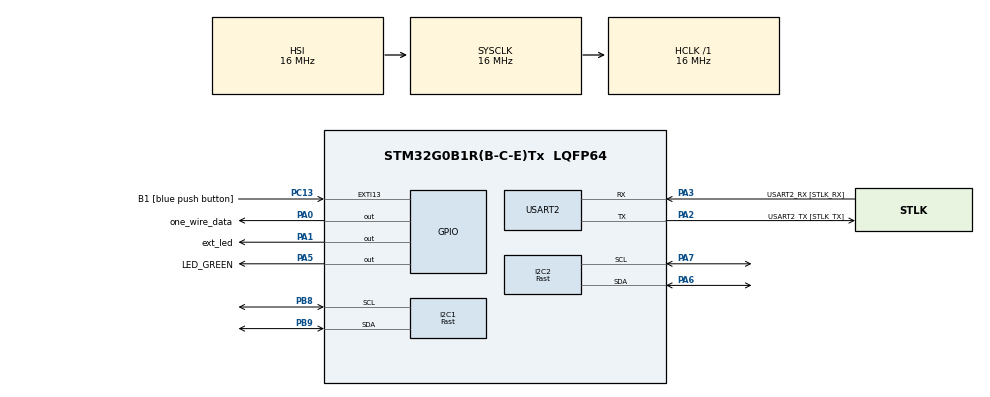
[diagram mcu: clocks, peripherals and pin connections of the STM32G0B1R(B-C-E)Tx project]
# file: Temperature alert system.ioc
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I2C1.I2C_Speed_Mode=I2C_Fast
I2C1.Timing=0x00300617
I2C2.I2C_Speed_Mode=I2C_Fast
I2C2.Timing=0x00300617
Mcu.Family=STM32G0
Mcu.Name=STM32G0B1R(B-C-E)Tx
Mcu.Package=LQFP64
NVIC.EXTI4_15_IRQn=true\:0\:0\:false\:false\:true\:true\:true\:true
PA0.GPIO_Label=one_wire_data
PA0.GPIO_ModeDefaultOutputPP=GPIO_MODE_OUTPUT_OD
PA0.GPIO_PuPd=GPIO_NOPULL
PA0.Signal=GPIO_Output
PA1.GPIO_Label=ext_led
PA1.GPIO_PuPd=GPIO_PULLUP
PA1.Signal=GPIO_Output
PA13.GPIO_Label=TMS
PA13.Mode=Serial_Wire
PA13.Signal=SYS_SWDIO
PA14-BOOT0.GPIO_Label=TCK
PA14-BOOT0.Mode=Serial_Wire
PA14-BOOT0.Signal=SYS_SWCLK
PA2.GPIO_Label=USART2_TX [STLK_TX]
PA2.Mode=Asynchronous
PA2.Signal=USART2_TX
PA3.GPIO_Label=USART2_RX [STLK_RX]
PA3.Mode=Asynchronous
PA3.Signal=USART2_RX
PA5.GPIO_Label=LED_GREEN
PA5.GPIO_Speed=GPIO_SPEED_FREQ_HIGH
PA5.Signal=GPIO_Output
PA6.Mode=I2C
PA6.Signal=I2C2_SDA
PA7.Mode=I2C
PA7.Signal=I2C2_SCL
PB8.Mode=I2C
PB8.Signal=I2C1_SCL
PB9.Mode=I2C
PB9.Signal=I2C1_SDA
PC13.GPIO_Label=B1 [blue push button]
PC13.GPIO_ModeDefaultEXTI=GPIO_MODE_IT_FALLING
PC13.GPIO_PuPd=GPIO_PULLUP
PC13.Signal=GPXTI13
PC14-OSC32_IN\ (PC14).Mode=LSE-External-Oscillator
PC14-OSC32_IN\ (PC14).Signal=RCC_OSC32_IN
PC15-OSC32_OUT\ (PC15).Mode=LSE-External-Oscillator
PC15-OSC32_OUT\ (PC15).Signal=RCC_OSC32_OUT
PF0-OSC_IN\ (PF0).GPIO_Label=MCO
PF0-OSC_IN\ (PF0).Mode=HSE-External-Clock-Source
PF0-OSC_IN\ (PF0).Signal=RCC_OSC_IN
ProjectManager.HeapSize=0x200
ProjectManager.StackSize=0x400
ProjectManager.TargetToolchain=STM32CubeIDE
RCC.AHBFreq_Value=16000000
RCC.CortexFreq_Value=16000000
RCC.EXTERNAL_CLOCK_VALUE=12288000
RCC.HCLKFreq_Value=16000000
RCC.HSE_VALUE=8000000
RCC.HSI48_VALUE=48000000
RCC.HSI_VALUE=16000000
RCC.SYSCLKFreq_VALUE=16000000
RCC.USBFreq_Value=48000000
RCC.VCOOutputFreq_Value=128000000
TIM2.AutoReloadPreload=TIM_AUTORELOAD_PRELOAD_ENABLE
TIM2.Period=65535
TIM2.Prescaler=15
USART2.VirtualMode-Asynchronous=VM_ASYNC
VP_SYS_VS_DBSignals.Mode=DisableDeadBatterySignals
VP_TIM2_VS_ClockSourceINT.Mode=Internal
board=NUCLEO-G0B1RE

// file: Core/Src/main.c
/* USER CODE BEGIN Header */
/**
 * @file    main.c
 * @brief   Temperature sensor alarm application for STM32G0.
 *
 * Reads temperature from a DS18B20 1-Wire sensor and displays the current
 * reading and alarm threshold on two TM1650 7-segment displays over I2C.
 * An external LED is activated when the temperature exceeds the threshold.
 * The onboard B1 button acknowledges and clears the alarm.
 *
 * @copyright Copyright (c) 2026 STMicroelectronics. All rights reserved.
 *            Licensed under terms found in the LICENSE file in the root directory.
 */
/* USER CODE END Header */

#include "main.h"

/* USER CODE BEGIN Includes */
#include "ds18b20.h"
#include "seven_seg.h"
#include <math.h>
/* USER CODE END Includes */

/* USER CODE BEGIN PTD */

/**
 * @brief Alarm state.
 */
typedef enum
{
    ALARM_STATE_OFF,  /**< Alarm inactive — temperature below threshold */
    ALARM_STATE_ON    /**< Alarm active   — temperature exceeded threshold */
} AlarmState_t;

/* USER CODE END PTD */

/* USER CODE BEGIN PD */

#define THRESHOLD_TEMP          30.0f   /**< Default alarm threshold in degrees Celsius */
#define TEMP_SAMPLE_PERIOD_MS   1000    /**< Total loop period in ms (conversion + idle) */

/* USER CODE END PD */

I2C_HandleTypeDef hi2c1;
I2C_HandleTypeDef hi2c2;

TIM_HandleTypeDef htim2;

UART_HandleTypeDef huart2;

/* USER CODE BEGIN PV */

SevenSeg_Handle_t display_current;    /**< Display handle for current temperature (I2C1) */
SevenSeg_Handle_t display_threshold;  /**< Display handle for alarm threshold     (I2C2) */

float temp_current  = 0.0f;            /**< Most recent valid temperature reading in °C  */
float temp_threshold = THRESHOLD_TEMP; /**< Active alarm threshold in °C                 */
AlarmState_t alarm_state = ALARM_STATE_OFF; /**< Current alarm state                     */

volatile bool button_pressed = false;  /**< Set by EXTI ISR; cleared in main loop        */

/* USER CODE END PV */

void SystemClock_Config(void);
static void MX_GPIO_Init(void);
static void MX_USART2_UART_Init(void);
static void MX_I2C1_Init(void);
static void MX_I2C2_Init(void);
static void MX_TIM2_Init(void);
/* USER CODE BEGIN PFP */

static void LED_SetState(bool on);
static void DisplayTemperature(SevenSeg_Handle_t *display, float temp);

/* USER CODE END PFP */

/* USER CODE BEGIN 0 */

/**
 * @brief  Drive the external alarm LED on or off.
 * @param  on  true to illuminate the LED, false to extinguish it.
 */
static void LED_SetState(bool on)
{
    if (on)
    {
        HAL_GPIO_WritePin(ext_led_GPIO_Port, ext_led_Pin, GPIO_PIN_SET);
    }
    else
    {
        HAL_GPIO_WritePin(ext_led_GPIO_Port, ext_led_Pin, GPIO_PIN_RESET);
    }
}

/**
 * @brief  Format a float temperature value and write it to a 7-segment display.
 *
 * Multiplies @p temp by 10, rounds to the nearest integer, and calls
 * SevenSeg_DisplayDecimal() to show one decimal place (e.g. 25.3 °C → "25.3").
 *
 * @param  display  Pointer to an initialised SevenSeg_Handle_t.
 * @param  temp     Temperature in degrees Celsius.
 */
static void DisplayTemperature(SevenSeg_Handle_t *display, float temp)
{
    uint16_t value = (uint16_t)roundf(temp * 10.0f);
    SevenSeg_DisplayDecimal(display, value);
}

/* USER CODE END 0 */

/**
 * @brief  Application entry point.
 * @retval int  Never returns.
 */
int main(void)
{

  /* MCU Configuration--------------------------------------------------------*/

  /* Reset of all peripherals, Initializes the Flash interface and the Systick. */
  HAL_Init();

  /* Configure the system clock */
  SystemClock_Config();

  /* Initialize all configured peripherals */
  MX_GPIO_Init();
  MX_USART2_UART_Init();
  MX_I2C1_Init();
  MX_I2C2_Init();
  MX_TIM2_Init();
  /* USER CODE BEGIN 2 */

  /* Start TIM2 as a free-running microsecond counter for the DS18B20 1-Wire driver */
  HAL_TIM_Base_Start(&htim2);

  /* Initialise DS18B20 — halt on failure (sensor required for operation) */
  if (!DS18B20_Init())
  {
      Error_Handler();
  }

  /* Initialise current temperature display on I2C1 */
  if (SevenSeg_Init(&display_current, &hi2c1) != SEVEN_SEG_OK)
  {
      Error_Handler();
  }

  /* Initialise threshold display on I2C2 */
  if (SevenSeg_Init(&display_threshold, &hi2c2) != SEVEN_SEG_OK)
  {
      Error_Handler();
  }

  /* Show the default threshold on startup */
  DisplayTemperature(&display_threshold, temp_threshold);

  /* USER CODE END 2 */

  /* Infinite loop */
  /* USER CODE BEGIN WHILE */
  while (1)
  {
      /* ----------------------------------------------------------------
       * Button handling — acknowledge alarm on B1 press
       * button_pressed is set by the EXTI ISR (HAL_GPIO_EXTI_Falling_Callback)
       * ---------------------------------------------------------------- */
      if (button_pressed)
      {
          button_pressed = false;  /* Clear ISR flag */

          /* Debounce delay */
          HAL_Delay(50);

          /* Confirm button is still held (active low) */
          if (HAL_GPIO_ReadPin(B1_GPIO_Port, B1_Pin) == GPIO_PIN_RESET)
          {
              /* Acknowledge alarm — turn off LED and return to idle state */
              if (alarm_state == ALARM_STATE_ON)
              {
                  alarm_state = ALARM_STATE_OFF;
                  LED_SetState(false);
              }
          }
      }

      /* ----------------------------------------------------------------
       * Temperature measurement
       * ---------------------------------------------------------------- */

      /* Trigger conversion and wait for 12-bit result (max 750 ms) */
      DS18B20_StartConversion();
      HAL_Delay(750);

      float temp_new = DS18B20_ReadTemperature();

      /* Accept only readings within the DS18B20 valid range (-55 to +125 °C) */
      if (temp_new > -100.0f && temp_new < 125.0f)
      {
          temp_current = temp_new;

          /* Refresh the current temperature display */
          DisplayTemperature(&display_current, temp_current);

          /* Trigger alarm if threshold is exceeded and alarm is not already active */
          if (alarm_state == ALARM_STATE_OFF)
          {
              if (temp_current > temp_threshold)
              {
                  alarm_state = ALARM_STATE_ON;
                  LED_SetState(true);
              }
          }
      }

      /* Idle for the remainder of the sample period */
      HAL_Delay(TEMP_SAMPLE_PERIOD_MS - 750);

    /* USER CODE END WHILE */

  }
}

/**
 * @brief  Configure system clocks.
 *
 * Source: HSI @ 16 MHz, no PLL. SYSCLK / HCLK / PCLK1 all at 16 MHz,
 * flash latency 0.
 *
 * @retval None
 */
void SystemClock_Config(void)
{
  RCC_OscInitTypeDef RCC_OscInitStruct = {0};
  RCC_ClkInitTypeDef RCC_ClkInitStruct = {0};

  /** Configure the main internal regulator output voltage
  */
  HAL_PWREx_ControlVoltageScaling(PWR_REGULATOR_VOLTAGE_SCALE1);

  /** Initializes the RCC Oscillators according to the specified parameters
  * in the RCC_OscInitTypeDef structure.
  */
  RCC_OscInitStruct.OscillatorType = RCC_OSCILLATORTYPE_HSI;
  RCC_OscInitStruct.HSIState = RCC_HSI_ON;
  RCC_OscInitStruct.HSIDiv = RCC_HSI_DIV1;
  RCC_OscInitStruct.HSICalibrationValue = RCC_HSICALIBRATION_DEFAULT;
  RCC_OscInitStruct.PLL.PLLState = RCC_PLL_NONE;
  if (HAL_RCC_OscConfig(&RCC_OscInitStruct) != HAL_OK)
  {
    Error_Handler();
  }

  /** Initializes the CPU, AHB and APB buses clocks
  */
  RCC_ClkInitStruct.ClockType = RCC_CLOCKTYPE_HCLK|RCC_CLOCKTYPE_SYSCLK
                              |RCC_CLOCKTYPE_PCLK1;
  RCC_ClkInitStruct.SYSCLKSource = RCC_SYSCLKSOURCE_HSI;
  RCC_ClkInitStruct.AHBCLKDivider = RCC_SYSCLK_DIV1;
  RCC_ClkInitStruct.APB1CLKDivider = RCC_HCLK_DIV1;

  if (HAL_RCC_ClockConfig(&RCC_ClkInitStruct, FLASH_LATENCY_0) != HAL_OK)
  {
    Error_Handler();
  }
}

/**
 * @brief  Initialise I2C1.
 *
 * Timing register 0x00300617 targets ~100 kHz standard mode on a 16 MHz HSI
 * clock. Analogue filter enabled, digital filter off.
 *
 * @retval None
 */
static void MX_I2C1_Init(void)
{

  hi2c1.Instance = I2C1;
  hi2c1.Init.Timing = 0x00300617;
  hi2c1.Init.OwnAddress1 = 0;
  hi2c1.Init.AddressingMode = I2C_ADDRESSINGMODE_7BIT;
  hi2c1.Init.DualAddressMode = I2C_DUALADDRESS_DISABLE;
  hi2c1.Init.OwnAddress2 = 0;
  hi2c1.Init.OwnAddress2Masks = I2C_OA2_NOMASK;
  hi2c1.Init.GeneralCallMode = I2C_GENERALCALL_DISABLE;
  hi2c1.Init.NoStretchMode = I2C_NOSTRETCH_DISABLE;
  if (HAL_I2C_Init(&hi2c1) != HAL_OK)
  {
    Error_Handler();
  }

  /** Configure Analogue filter
  */
  if (HAL_I2CEx_ConfigAnalogFilter(&hi2c1, I2C_ANALOGFILTER_ENABLE) != HAL_OK)
  {
    Error_Handler();
  }

  /** Configure Digital filter
  */
  if (HAL_I2CEx_ConfigDigitalFilter(&hi2c1, 0) != HAL_OK)
  {
    Error_Handler();
  }

}

/**
 * @brief  Initialise I2C2.
 *
 * Identical configuration to I2C1 — same timing, analogue filter enabled,
 * digital filter off.
 *
 * @retval None
 */
static void MX_I2C2_Init(void)
{

  hi2c2.Instance = I2C2;
  hi2c2.Init.Timing = 0x00300617;
  hi2c2.Init.OwnAddress1 = 0;
  hi2c2.Init.AddressingMode = I2C_ADDRESSINGMODE_7BIT;
  hi2c2.Init.DualAddressMode = I2C_DUALADDRESS_DISABLE;
  hi2c2.Init.OwnAddress2 = 0;
  hi2c2.Init.OwnAddress2Masks = I2C_OA2_NOMASK;
  hi2c2.Init.GeneralCallMode = I2C_GENERALCALL_DISABLE;
  hi2c2.Init.NoStretchMode = I2C_NOSTRETCH_DISABLE;
  if (HAL_I2C_Init(&hi2c2) != HAL_OK)
  {
    Error_Handler();
  }

  /** Configure Analogue filter
  */
  if (HAL_I2CEx_ConfigAnalogFilter(&hi2c2, I2C_ANALOGFILTER_ENABLE) != HAL_OK)
  {
    Error_Handler();
  }

  /** Configure Digital filter
  */
  if (HAL_I2CEx_ConfigDigitalFilter(&hi2c2, 0) != HAL_OK)
  {
    Error_Handler();
  }

}

/**
 * @brief  Initialise TIM2 as a free-running microsecond counter.
 *
 * Prescaler of 15 on a 16 MHz HSI clock gives a 1 MHz tick (1 µs resolution).
 * Period set to 65535 (max 16-bit). Used exclusively by the DS18B20 1-Wire driver.
 *
 * @retval None
 */
static void MX_TIM2_Init(void)
{

  TIM_ClockConfigTypeDef sClockSourceConfig = {0};
  TIM_MasterConfigTypeDef sMasterConfig = {0};

  htim2.Instance = TIM2;
  htim2.Init.Prescaler = 15;
  htim2.Init.CounterMode = TIM_COUNTERMODE_UP;
  htim2.Init.Period = 65535;
  htim2.Init.ClockDivision = TIM_CLOCKDIVISION_DIV1;
  htim2.Init.AutoReloadPreload = TIM_AUTORELOAD_PRELOAD_ENABLE;
  if (HAL_TIM_Base_Init(&htim2) != HAL_OK)
  {
    Error_Handler();
  }
  sClockSourceConfig.ClockSource = TIM_CLOCKSOURCE_INTERNAL;
  if (HAL_TIM_ConfigClockSource(&htim2, &sClockSourceConfig) != HAL_OK)
  {
    Error_Handler();
  }
  sMasterConfig.MasterOutputTrigger = TIM_TRGO_RESET;
  sMasterConfig.MasterSlaveMode = TIM_MASTERSLAVEMODE_DISABLE;
  if (HAL_TIMEx_MasterConfigSynchronization(&htim2, &sMasterConfig) != HAL_OK)
  {
    Error_Handler();
  }

}

/**
 * @brief  Initialise USART2 — 115200 8N1, no hardware flow control, FIFO off.
 * @retval None
 */
static void MX_USART2_UART_Init(void)
{

  huart2.Instance = USART2;
  huart2.Init.BaudRate = 115200;
  huart2.Init.WordLength = UART_WORDLENGTH_8B;
  huart2.Init.StopBits = UART_STOPBITS_1;
  huart2.Init.Parity = UART_PARITY_NONE;
  huart2.Init.Mode = UART_MODE_TX_RX;
  huart2.Init.HwFlowCtl = UART_HWCONTROL_NONE;
  huart2.Init.OverSampling = UART_OVERSAMPLING_16;
  huart2.Init.OneBitSampling = UART_ONE_BIT_SAMPLE_DISABLE;
  huart2.Init.ClockPrescaler = UART_PRESCALER_DIV1;
  huart2.AdvancedInit.AdvFeatureInit = UART_ADVFEATURE_NO_INIT;
  if (HAL_UART_Init(&huart2) != HAL_OK)
  {
    Error_Handler();
  }
  if (HAL_UARTEx_SetTxFifoThreshold(&huart2, UART_TXFIFO_THRESHOLD_1_8) != HAL_OK)
  {
    Error_Handler();
  }
  if (HAL_UARTEx_SetRxFifoThreshold(&huart2, UART_RXFIFO_THRESHOLD_1_8) != HAL_OK)
  {
    Error_Handler();
  }
  if (HAL_UARTEx_DisableFifoMode(&huart2) != HAL_OK)
  {
    Error_Handler();
  }

}

/**
 * @brief  Initialise GPIO pins.
 *
 * - B1            (PC13): input, falling-edge EXTI, internal pull-up (alarm acknowledge).
 * - one_wire_data (PA):   open-drain output, low speed (DS18B20 1-Wire bus).
 * - ext_led       (PA):   push-pull output, low speed, pull-up (external alarm LED).
 * - LED_GREEN     (PA5):  push-pull output, high speed (onboard status LED).
 *
 * EXTI4_15 interrupt enabled at priority 0 for the B1 button.
 *
 * @retval None
 */
static void MX_GPIO_Init(void)
{
  GPIO_InitTypeDef GPIO_InitStruct = {0};

  /* GPIO Ports Clock Enable */
  __HAL_RCC_GPIOC_CLK_ENABLE();
  __HAL_RCC_GPIOF_CLK_ENABLE();
  __HAL_RCC_GPIOA_CLK_ENABLE();
  __HAL_RCC_GPIOB_CLK_ENABLE();

  /*Configure GPIO pin Output Level */
  HAL_GPIO_WritePin(GPIOA, one_wire_data_Pin|ext_led_Pin|LED_GREEN_Pin, GPIO_PIN_RESET);

  /*Configure GPIO pin : B1_Pin */
  GPIO_InitStruct.Pin = B1_Pin;
  GPIO_InitStruct.Mode = GPIO_MODE_IT_FALLING;
  GPIO_InitStruct.Pull = GPIO_PULLUP;
  HAL_GPIO_Init(B1_GPIO_Port, &GPIO_InitStruct);

  /*Configure GPIO pin : one_wire_data_Pin */
  GPIO_InitStruct.Pin = one_wire_data_Pin;
  GPIO_InitStruct.Mode = GPIO_MODE_OUTPUT_OD;
  GPIO_InitStruct.Pull = GPIO_NOPULL;
  GPIO_InitStruct.Speed = GPIO_SPEED_FREQ_LOW;
  HAL_GPIO_Init(one_wire_data_GPIO_Port, &GPIO_InitStruct);

  /*Configure GPIO pin : ext_led_Pin */
  GPIO_InitStruct.Pin = ext_led_Pin;
  GPIO_InitStruct.Mode = GPIO_MODE_OUTPUT_PP;
  GPIO_InitStruct.Pull = GPIO_PULLUP;
  GPIO_InitStruct.Speed = GPIO_SPEED_FREQ_LOW;
  HAL_GPIO_Init(ext_led_GPIO_Port, &GPIO_InitStruct);

  /*Configure GPIO pin : LED_GREEN_Pin */
  GPIO_InitStruct.Pin = LED_GREEN_Pin;
  GPIO_InitStruct.Mode = GPIO_MODE_OUTPUT_PP;
  GPIO_InitStruct.Pull = GPIO_NOPULL;
  GPIO_InitStruct.Speed = GPIO_SPEED_FREQ_HIGH;
  HAL_GPIO_Init(LED_GREEN_GPIO_Port, &GPIO_InitStruct);

  /* EXTI interrupt init*/
  HAL_NVIC_SetPriority(EXTI4_15_IRQn, 0, 0);
  HAL_NVIC_EnableIRQ(EXTI4_15_IRQn);

}

/* USER CODE BEGIN 4 */

/**
 * @brief  EXTI falling-edge callback — handles B1 button press.
 *
 * Sets the @c button_pressed flag for processing in the main loop.
 * HAL_Delay must not be called from within an ISR context.
 *
 * @param  GPIO_Pin  Pin that triggered the interrupt.
 */
void HAL_GPIO_EXTI_Falling_Callback(uint16_t GPIO_Pin)
{
    if (GPIO_Pin == B1_Pin)
    {
        button_pressed = true;
    }
}

/* USER CODE END 4 */

/**
 * @brief  Fatal error handler — disables interrupts and halts.
 *
 * Called by HAL on any peripheral initialisation failure. Extend this
 * function to add LED blink patterns or UART fault reporting if needed.
 *
 * @retval None
 */
void Error_Handler(void)
{
  __disable_irq();
  while (1)
  {
  }
}

#ifdef  USE_FULL_ASSERT
/**
 * @brief  assert_param failure callback.
 * @param  file  Source file where the assertion failed.
 * @param  line  Line number of the failed assertion.
 * @retval None
 */
void assert_failed(uint8_t *file, uint32_t line)
{
  /* USER CODE BEGIN 6 */
  /* User can add their own implementation to report the file name and line number,
     e.g.: printf("Wrong parameters value: file %s on line %d\r\n", file, line) */
  /* USER CODE END 6 */
}
#endif /* USE_FULL_ASSERT */
